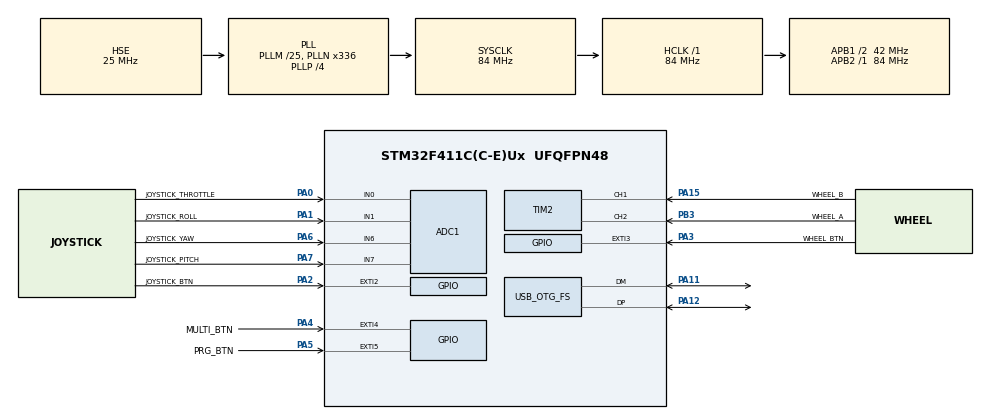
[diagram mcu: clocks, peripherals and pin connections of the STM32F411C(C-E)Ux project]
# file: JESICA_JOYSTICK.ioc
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ADC1.Channel-0\#ChannelRegularConversion=ADC_CHANNEL_0
ADC1.Channel-1\#ChannelRegularConversion=ADC_CHANNEL_1
ADC1.Channel-2\#ChannelRegularConversion=ADC_CHANNEL_6
ADC1.Channel-3\#ChannelRegularConversion=ADC_CHANNEL_7
ADC1.ExternalTrigConv=ADC_EXTERNALTRIGCONV_T3_TRGO
ADC1.NbrOfConversion=4
ADC1.NbrOfConversionFlag=1
ADC1.Rank-0\#ChannelRegularConversion=1
ADC1.Rank-1\#ChannelRegularConversion=2
ADC1.Rank-2\#ChannelRegularConversion=3
ADC1.Rank-3\#ChannelRegularConversion=4
ADC1.SamplingTime-0\#ChannelRegularConversion=ADC_SAMPLETIME_480CYCLES
ADC1.SamplingTime-1\#ChannelRegularConversion=ADC_SAMPLETIME_480CYCLES
ADC1.SamplingTime-2\#ChannelRegularConversion=ADC_SAMPLETIME_480CYCLES
ADC1.SamplingTime-3\#ChannelRegularConversion=ADC_SAMPLETIME_15CYCLES
ADC1.ScanConvMode=ENABLE
ADC1.master=1
Dma.ADC1.0.Direction=DMA_PERIPH_TO_MEMORY
Dma.ADC1.0.FIFOMode=DMA_FIFOMODE_DISABLE
Dma.ADC1.0.Instance=DMA2_Stream0
Dma.ADC1.0.MemDataAlignment=DMA_MDATAALIGN_HALFWORD
Dma.ADC1.0.MemInc=DMA_MINC_ENABLE
Dma.ADC1.0.Mode=DMA_CIRCULAR
Dma.ADC1.0.PeriphDataAlignment=DMA_PDATAALIGN_HALFWORD
Dma.ADC1.0.PeriphInc=DMA_PINC_DISABLE
Dma.ADC1.0.Priority=DMA_PRIORITY_HIGH
Dma.Request0=ADC1
Mcu.Family=STM32F4
Mcu.Name=STM32F411C(C-E)Ux
Mcu.Package=UFQFPN48
Mcu.UserConstants=DEBOUNCE_COUNT,5000;ENCODER_MODES,5
NVIC.ADC_IRQn=true\:0\:0\:false\:false\:true\:true\:true\:true
NVIC.DMA2_Stream0_IRQn=true\:0\:0\:false\:false\:true\:false\:true\:true
NVIC.OTG_FS_IRQn=true\:0\:0\:false\:false\:true\:false\:true\:true
NVIC.PriorityGroup=NVIC_PRIORITYGROUP_4
NVIC.TIM1_UP_TIM10_IRQn=true\:0\:0\:false\:false\:true\:true\:true\:true
NVIC.TIM2_IRQn=true\:0\:0\:false\:false\:true\:true\:true\:true
PA0-WKUP.GPIO_Label=JOYSTICK_THROTTLE
PA0-WKUP.Signal=ADCx_IN0
PA1.GPIO_Label=JOYSTICK_ROLL
PA1.Signal=ADCx_IN1
PA11.Mode=Device_Only
PA11.Signal=USB_OTG_FS_DM
PA12.Mode=Device_Only
PA12.Signal=USB_OTG_FS_DP
PA13.Mode=Serial_Wire
PA13.Signal=SYS_JTMS-SWDIO
PA14.Mode=Serial_Wire
PA14.Signal=SYS_JTCK-SWCLK
PA15.GPIO_Label=WHEEL_B
PA15.Signal=S_TIM2_CH1_ETR
PA2.GPIO_Label=JOYSTICK_BTN
PA2.GPIO_ModeDefaultEXTI=GPIO_MODE_IT_RISING_FALLING
PA2.GPIO_PuPd=GPIO_PULLUP
PA2.Signal=GPXTI2
PA3.GPIO_Label=WHEEL_BTN
PA3.GPIO_ModeDefaultEXTI=GPIO_MODE_IT_RISING_FALLING
PA3.GPIO_PuPd=GPIO_PULLUP
PA3.Signal=GPXTI3
PA4.GPIO_Label=MULTI_BTN
PA4.GPIO_ModeDefaultEXTI=GPIO_MODE_IT_RISING_FALLING
PA4.GPIO_PuPd=GPIO_PULLUP
PA4.Signal=GPXTI4
PA5.GPIO_Label=PRG_BTN
PA5.GPIO_ModeDefaultEXTI=GPIO_MODE_IT_RISING_FALLING
PA5.GPIO_PuPd=GPIO_PULLUP
PA5.Signal=GPXTI5
PA6.GPIO_Label=JOYSTICK_YAW
PA6.Signal=ADCx_IN6
PA7.GPIO_Label=JOYSTICK_PITCH
PA7.Signal=ADCx_IN7
PB3.GPIO_Label=WHEEL_A
PB3.Signal=S_TIM2_CH2
PH0\ -\ OSC_IN.Mode=HSE-External-Oscillator
PH0\ -\ OSC_IN.Signal=RCC_OSC_IN
PH1\ -\ OSC_OUT.Mode=HSE-External-Oscillator
PH1\ -\ OSC_OUT.Signal=RCC_OSC_OUT
ProjectManager.HeapSize=0x200
ProjectManager.StackSize=0x400
ProjectManager.TargetToolchain=STM32CubeIDE
RCC.48MHZClocksFreq_Value=48000000
RCC.AHBFreq_Value=84000000
RCC.APB1CLKDivider=RCC_HCLK_DIV2
RCC.APB1Freq_Value=42000000
RCC.APB1TimFreq_Value=84000000
RCC.APB2Freq_Value=84000000
RCC.APB2TimFreq_Value=84000000
RCC.CortexFreq_Value=84000000
RCC.HCLKFreq_Value=84000000
RCC.HSE_VALUE=25000000
RCC.HSI_VALUE=16000000
RCC.LSE_VALUE=32768
RCC.PLLM=25
RCC.PLLN=336
RCC.PLLP=RCC_PLLP_DIV4
RCC.PLLQ=7
RCC.SYSCLKFreq_VALUE=84000000
RCC.SYSCLKSource=RCC_SYSCLKSOURCE_PLLCLK
RCC.VCOOutputFreq_Value=336000000
SH.ADCx_IN0.0=ADC1_IN0,IN0
SH.ADCx_IN1.0=ADC1_IN1,IN1
SH.ADCx_IN6.0=ADC1_IN6,IN6
SH.ADCx_IN7.0=ADC1_IN7,IN7
SH.S_TIM2_CH1_ETR.0=TIM2_CH1,Encoder_Interface
SH.S_TIM2_CH2.0=TIM2_CH2,Encoder_Interface
TIM10.Period=DEBOUNCE_COUNT-1
TIM10.Prescaler=84-1
TIM2.EncoderMode=TIM_ENCODERMODE_TI12
TIM2.IC1Polarity=TIM_ICPOLARITY_FALLING
TIM2.IC2Polarity=TIM_ICPOLARITY_FALLING
TIM2.Period=ENCODER_MODES-1
TIM3.Period=100-1
TIM3.Prescaler=8400-1
TIM3.TIM_MasterOutputTrigger=TIM_TRGO_UPDATE
USB_DEVICE.CLASS_NAME_FS=CUSTOM_HID
USB_DEVICE.MANUFACTURER_STRING=Tolle Labs
USB_DEVICE.VirtualMode=CustomHid
USB_DEVICE.VirtualModeFS=Custom_Hid_FS
USB_OTG_FS.VirtualMode=Device_Only
VP_TIM10_VS_ClockSourceINT.Mode=Enable_Timer
VP_TIM3_VS_ClockSourceINT.Mode=Internal
VP_USB_DEVICE_VS_USB_DEVICE_CUSTOM_HID_FS.Mode=CUSTOM_HID_FS
board=custom

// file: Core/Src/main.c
/* USER CODE BEGIN Header */
/**
  ******************************************************************************
  * @file           : main.c
  * @brief          : Main program body
  ******************************************************************************
  * @attention
  *
  * Copyright (c) 2025 STMicroelectronics.
  * All rights reserved.
  *
  * This software is licensed under terms that can be found in the LICENSE file
  * in the root directory of this software component.
  * If no LICENSE file comes with this software, it is provided AS-IS.
  *
  ******************************************************************************
  */
/* USER CODE END Header */
#include "main.h"
#include "usb_device.h"
#include "usbd_customhid.h"

/* USER CODE BEGIN PTD */
typedef struct __attribute__((__packed__)){
	int16_t joystick_throttle;
	int16_t joystick_roll;
	int16_t joystick_yaw;
	int16_t joystick_pitch;
	uint8_t buttons;
} joystick_struct;

typedef struct {
  GPIO_TypeDef* port;
  uint16_t pin;
  uint8_t state;
  uint8_t debounce_pending;
} buttons_struct;

#define NUM_BUTTONS 4

buttons_struct Buttons_struct[NUM_BUTTONS] = {
  {GPIOA, JOYSTICK_BTN_Pin, 0, 0},
  {GPIOA, WHEEL_BTN_Pin, 0, 0},
  {GPIOA, MULTI_BTN_Pin, 0, 0},
  {GPIOA, PRG_BTN_Pin, 0, 0}
};

/* USER CODE END PTD */

ADC_HandleTypeDef hadc1;
DMA_HandleTypeDef hdma_adc1;

TIM_HandleTypeDef htim2;
TIM_HandleTypeDef htim3;
TIM_HandleTypeDef htim10;

/* USER CODE BEGIN PV */
volatile uint16_t adc_buff[4] = {0};

joystick_struct Joystick_struct;

uint32_t counter = 0;
int16_t count = 0;
int16_t position = 0;

extern USBD_HandleTypeDef hUsbDeviceFS;
/* USER CODE END PV */

void SystemClock_Config(void);
static void MX_GPIO_Init(void);
static void MX_DMA_Init(void);
static void MX_ADC1_Init(void);
static void MX_TIM2_Init(void);
static void MX_TIM3_Init(void);
static void MX_TIM10_Init(void);
/* USER CODE BEGIN PFP */
void HAL_ADC_ConvCpltCallback(ADC_HandleTypeDef *hadc){
	Joystick_struct.joystick_throttle = (int16_t)adc_buff[0]-2048;
	Joystick_struct.joystick_roll = (int16_t)adc_buff[1]-2048;
	Joystick_struct.joystick_yaw = (int16_t)adc_buff[2]-2048;
	Joystick_struct.joystick_pitch = (int16_t)adc_buff[3]-2048;
}
/* USER CODE END PFP */

/* USER CODE BEGIN 0 */
void HAL_TIM_IC_CaptureCallback(TIM_HandleTypeDef *htim)
{
	counter = __HAL_TIM_GET_COUNTER(htim);
	count = (int16_t)counter;
	position = count/4;
}

void HAL_TIM_PeriodElapsedCallback(TIM_HandleTypeDef *htim) {
  if(htim->Instance == TIM10) {
    HAL_TIM_Base_Stop_IT(htim);

    for (int i = 0; i < NUM_BUTTONS; i++) {
      if (Buttons_struct[i].debounce_pending) {
    	Buttons_struct[i].state = (HAL_GPIO_ReadPin(Buttons_struct[i].port, Buttons_struct[i].pin) == GPIO_PIN_RESET) ? 1 : 0;
    	Buttons_struct[i].debounce_pending = 0;
      }
    }
  }
}

void HAL_GPIO_EXTI_Callback(uint16_t GPIO_Pin) {
  for (int i = 0; i < NUM_BUTTONS; i++) {
    if (Buttons_struct[i].pin == GPIO_Pin && !Buttons_struct[i].debounce_pending) {
    	Buttons_struct[i].debounce_pending = 1;

      __HAL_TIM_SET_COUNTER(&htim10, 0);
      HAL_TIM_Base_Start_IT(&htim10);
    }
  }
}

/* USER CODE END 0 */

int main(void)
{

  /* MCU Configuration--------------------------------------------------------*/

  /* Reset of all peripherals, Initializes the Flash interface and the Systick. */
  HAL_Init();

  /* Configure the system clock */
  SystemClock_Config();

  /* Initialize all configured peripherals */
  MX_GPIO_Init();
  MX_DMA_Init();
  MX_ADC1_Init();
  MX_TIM2_Init();
  MX_USB_DEVICE_Init();
  MX_TIM3_Init();
  MX_TIM10_Init();
  /* USER CODE BEGIN 2 */
  HAL_ADC_Start_DMA(&hadc1, (uint32_t *)adc_buff, 4);
  HAL_TIM_Base_Start(&htim3);
  HAL_TIM_Encoder_Start_IT(&htim2, TIM_CHANNEL_ALL);
  /* USER CODE END 2 */

  /* Infinite loop */
  while (1)
  {
	  Joystick_struct.buttons = (Buttons_struct[0].state << 3 | Buttons_struct[1].state << 1 | Buttons_struct[2].state << 2 | Buttons_struct[3].state);
	  USBD_CUSTOM_HID_SendReport(&hUsbDeviceFS, (uint8_t *) &Joystick_struct, sizeof(Joystick_struct));
  }
}

void SystemClock_Config(void)
{
  RCC_OscInitTypeDef RCC_OscInitStruct = {0};
  RCC_ClkInitTypeDef RCC_ClkInitStruct = {0};

  /** Configure the main internal regulator output voltage
  */
  __HAL_RCC_PWR_CLK_ENABLE();
  __HAL_PWR_VOLTAGESCALING_CONFIG(PWR_REGULATOR_VOLTAGE_SCALE1);

  /** Initializes the RCC Oscillators according to the specified parameters
  * in the RCC_OscInitTypeDef structure.
  */
  RCC_OscInitStruct.OscillatorType = RCC_OSCILLATORTYPE_HSE;
  RCC_OscInitStruct.HSEState = RCC_HSE_ON;
  RCC_OscInitStruct.PLL.PLLState = RCC_PLL_ON;
  RCC_OscInitStruct.PLL.PLLSource = RCC_PLLSOURCE_HSE;
  RCC_OscInitStruct.PLL.PLLM = 25;
  RCC_OscInitStruct.PLL.PLLN = 336;
  RCC_OscInitStruct.PLL.PLLP = RCC_PLLP_DIV4;
  RCC_OscInitStruct.PLL.PLLQ = 7;
  if (HAL_RCC_OscConfig(&RCC_OscInitStruct) != HAL_OK)
  {
    Error_Handler();
  }

  /** Initializes the CPU, AHB and APB buses clocks
  */
  RCC_ClkInitStruct.ClockType = RCC_CLOCKTYPE_HCLK|RCC_CLOCKTYPE_SYSCLK
                              |RCC_CLOCKTYPE_PCLK1|RCC_CLOCKTYPE_PCLK2;
  RCC_ClkInitStruct.SYSCLKSource = RCC_SYSCLKSOURCE_PLLCLK;
  RCC_ClkInitStruct.AHBCLKDivider = RCC_SYSCLK_DIV1;
  RCC_ClkInitStruct.APB1CLKDivider = RCC_HCLK_DIV2;
  RCC_ClkInitStruct.APB2CLKDivider = RCC_HCLK_DIV1;

  if (HAL_RCC_ClockConfig(&RCC_ClkInitStruct, FLASH_LATENCY_2) != HAL_OK)
  {
    Error_Handler();
  }
}

static void MX_ADC1_Init(void)
{

  ADC_ChannelConfTypeDef sConfig = {0};

  /** Configure the global features of the ADC (Clock, Resolution, Data Alignment and number of conversion)
  */
  hadc1.Instance = ADC1;
  hadc1.Init.ClockPrescaler = ADC_CLOCK_SYNC_PCLK_DIV4;
  hadc1.Init.Resolution = ADC_RESOLUTION_12B;
  hadc1.Init.ScanConvMode = ENABLE;
  hadc1.Init.ContinuousConvMode = DISABLE;
  hadc1.Init.DiscontinuousConvMode = DISABLE;
  hadc1.Init.ExternalTrigConvEdge = ADC_EXTERNALTRIGCONVEDGE_RISING;
  hadc1.Init.ExternalTrigConv = ADC_EXTERNALTRIGCONV_T3_TRGO;
  hadc1.Init.DataAlign = ADC_DATAALIGN_RIGHT;
  hadc1.Init.NbrOfConversion = 4;
  hadc1.Init.DMAContinuousRequests = DISABLE;
  hadc1.Init.EOCSelection = ADC_EOC_SINGLE_CONV;
  if (HAL_ADC_Init(&hadc1) != HAL_OK)
  {
    Error_Handler();
  }

  /** Configure for the selected ADC regular channel its corresponding rank in the sequencer and its sample time.
  */
  sConfig.Channel = ADC_CHANNEL_0;
  sConfig.Rank = 1;
  sConfig.SamplingTime = ADC_SAMPLETIME_480CYCLES;
  if (HAL_ADC_ConfigChannel(&hadc1, &sConfig) != HAL_OK)
  {
    Error_Handler();
  }

  /** Configure for the selected ADC regular channel its corresponding rank in the sequencer and its sample time.
  */
  sConfig.Channel = ADC_CHANNEL_1;
  sConfig.Rank = 2;
  if (HAL_ADC_ConfigChannel(&hadc1, &sConfig) != HAL_OK)
  {
    Error_Handler();
  }

  /** Configure for the selected ADC regular channel its corresponding rank in the sequencer and its sample time.
  */
  sConfig.Channel = ADC_CHANNEL_6;
  sConfig.Rank = 3;
  if (HAL_ADC_ConfigChannel(&hadc1, &sConfig) != HAL_OK)
  {
    Error_Handler();
  }

  /** Configure for the selected ADC regular channel its corresponding rank in the sequencer and its sample time.
  */
  sConfig.Channel = ADC_CHANNEL_7;
  sConfig.Rank = 4;
  sConfig.SamplingTime = ADC_SAMPLETIME_15CYCLES;
  if (HAL_ADC_ConfigChannel(&hadc1, &sConfig) != HAL_OK)
  {
    Error_Handler();
  }

}

static void MX_TIM2_Init(void)
{

  TIM_Encoder_InitTypeDef sConfig = {0};
  TIM_MasterConfigTypeDef sMasterConfig = {0};

  htim2.Instance = TIM2;
  htim2.Init.Prescaler = 0;
  htim2.Init.CounterMode = TIM_COUNTERMODE_UP;
  htim2.Init.Period = ENCODER_MODES-1;
  htim2.Init.ClockDivision = TIM_CLOCKDIVISION_DIV1;
  htim2.Init.AutoReloadPreload = TIM_AUTORELOAD_PRELOAD_DISABLE;
  sConfig.EncoderMode = TIM_ENCODERMODE_TI12;
  sConfig.IC1Polarity = TIM_ICPOLARITY_FALLING;
  sConfig.IC1Selection = TIM_ICSELECTION_DIRECTTI;
  sConfig.IC1Prescaler = TIM_ICPSC_DIV1;
  sConfig.IC1Filter = 0;
  sConfig.IC2Polarity = TIM_ICPOLARITY_FALLING;
  sConfig.IC2Selection = TIM_ICSELECTION_DIRECTTI;
  sConfig.IC2Prescaler = TIM_ICPSC_DIV1;
  sConfig.IC2Filter = 0;
  if (HAL_TIM_Encoder_Init(&htim2, &sConfig) != HAL_OK)
  {
    Error_Handler();
  }
  sMasterConfig.MasterOutputTrigger = TIM_TRGO_RESET;
  sMasterConfig.MasterSlaveMode = TIM_MASTERSLAVEMODE_DISABLE;
  if (HAL_TIMEx_MasterConfigSynchronization(&htim2, &sMasterConfig) != HAL_OK)
  {
    Error_Handler();
  }

}

static void MX_TIM3_Init(void)
{

  TIM_ClockConfigTypeDef sClockSourceConfig = {0};
  TIM_MasterConfigTypeDef sMasterConfig = {0};

  htim3.Instance = TIM3;
  htim3.Init.Prescaler = 8400-1;
  htim3.Init.CounterMode = TIM_COUNTERMODE_UP;
  htim3.Init.Period = 100-1;
  htim3.Init.ClockDivision = TIM_CLOCKDIVISION_DIV1;
  htim3.Init.AutoReloadPreload = TIM_AUTORELOAD_PRELOAD_DISABLE;
  if (HAL_TIM_Base_Init(&htim3) != HAL_OK)
  {
    Error_Handler();
  }
  sClockSourceConfig.ClockSource = TIM_CLOCKSOURCE_INTERNAL;
  if (HAL_TIM_ConfigClockSource(&htim3, &sClockSourceConfig) != HAL_OK)
  {
    Error_Handler();
  }
  sMasterConfig.MasterOutputTrigger = TIM_TRGO_UPDATE;
  sMasterConfig.MasterSlaveMode = TIM_MASTERSLAVEMODE_DISABLE;
  if (HAL_TIMEx_MasterConfigSynchronization(&htim3, &sMasterConfig) != HAL_OK)
  {
    Error_Handler();
  }

}

static void MX_TIM10_Init(void)
{

  htim10.Instance = TIM10;
  htim10.Init.Prescaler = 84-1;
  htim10.Init.CounterMode = TIM_COUNTERMODE_UP;
  htim10.Init.Period = DEBOUNCE_COUNT-1;
  htim10.Init.ClockDivision = TIM_CLOCKDIVISION_DIV1;
  htim10.Init.AutoReloadPreload = TIM_AUTORELOAD_PRELOAD_DISABLE;
  if (HAL_TIM_Base_Init(&htim10) != HAL_OK)
  {
    Error_Handler();
  }

}

static void MX_DMA_Init(void)
{

  /* DMA controller clock enable */
  __HAL_RCC_DMA2_CLK_ENABLE();

  /* DMA interrupt init */
  /* DMA2_Stream0_IRQn interrupt configuration */
  HAL_NVIC_SetPriority(DMA2_Stream0_IRQn, 0, 0);
  HAL_NVIC_EnableIRQ(DMA2_Stream0_IRQn);

}

static void MX_GPIO_Init(void)
{
  GPIO_InitTypeDef GPIO_InitStruct = {0};

  /* GPIO Ports Clock Enable */
  __HAL_RCC_GPIOH_CLK_ENABLE();
  __HAL_RCC_GPIOA_CLK_ENABLE();
  __HAL_RCC_GPIOB_CLK_ENABLE();

  /*Configure GPIO pins : JOYSTICK_BTN_Pin WHEEL_BTN_Pin MULTI_BTN_Pin PRG_BTN_Pin */
  GPIO_InitStruct.Pin = JOYSTICK_BTN_Pin|WHEEL_BTN_Pin|MULTI_BTN_Pin|PRG_BTN_Pin;
  GPIO_InitStruct.Mode = GPIO_MODE_IT_RISING_FALLING;
  GPIO_InitStruct.Pull = GPIO_PULLUP;
  HAL_GPIO_Init(GPIOA, &GPIO_InitStruct);

}

void Error_Handler(void)
{
  __disable_irq();
  while (1)
  {
  }
}
